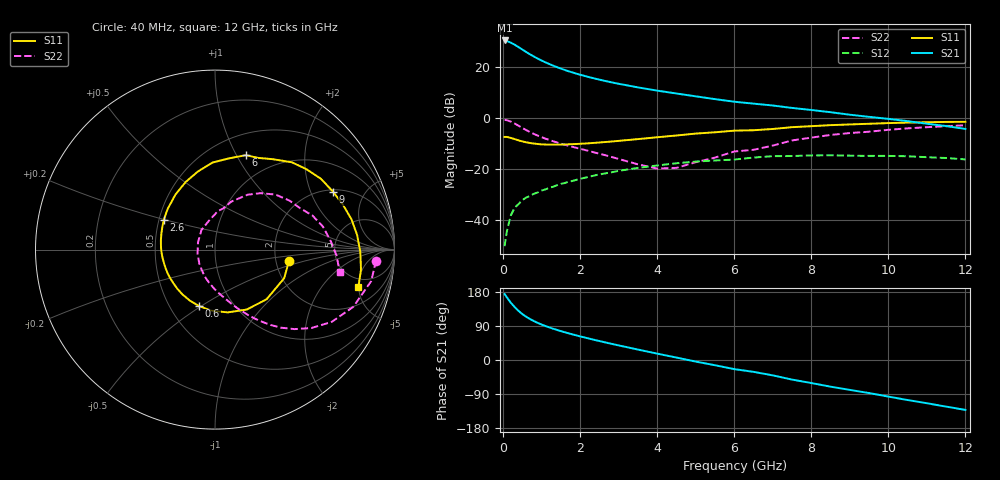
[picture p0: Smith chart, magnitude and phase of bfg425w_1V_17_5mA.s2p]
! Filename: 117bfg425.001
! BFG425W Field C1
! V1=8.701E-001V,V2=1.000E+000V, I1=2.655E-004A, I2=1.753E-002A
# GHz  S  MA  R 50
!  S11  S21  S12  S22
!Freq(GHz)  Mag  Ang  Mag  Ang  Mag  Ang  Mag  Ang
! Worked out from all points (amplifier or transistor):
!   44 points, 40 MHz to 12 GHz, reference 50 ohm
!   highest |S21| = 30.3 dB at 40 MHz (marker M1)
!   |S21| within 3 dB of that: start of sweep to 441.3 MHz
!   unconditionally stable (mu >= 1): 1.282 GHz to end of sweep
!   at 700 MHz: K = 0.75, MSG = 27.8 dB, |S12| = -30.8 dB
!   at 2.4 GHz: K = 1.16, MAG = 16.5 dB, |S12| = -22.6 dB
!   at 12 GHz: K = 1.36, MAG = 2.4 dB, |S12| = -16.4 dB
!   S11 on the Smith chart (normalised r, x): 40 MHz: 2.36, -0.38; 600 MHz: 0.70, -0.49; 2.6 GHz: 0.53, +0.19; 6 GHz: 0.72, +1.10; 9 GHz: 2.10, +2.92; 12 GHz: 3.77, -4.97
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0.04  0.417 -9.1  32.56 173.9  0.003 79.3  0.899 -4.0
0.1  0.417 -22.5  31.71 165.2  0.006 81.4  0.888 -11.4
0.2  0.399 -43.9  29.48 151.2  0.012 73.6  0.834 -22.5
0.3  0.378 -62.1  26.91 139.8  0.017 68.4  0.765 -31.8
0.4  0.357 -78.5  24.14 129.8  0.02 64.1  0.692 -39.2
0.5  0.341 -93.4  21.59 121.1  0.024 60.9  0.626 -45.0
0.6  0.327 -105.6  19.32 114.1  0.027 58.9  0.569 -49.9
0.7  0.317 -116.1  17.39 108.1  0.029 57.1  0.519 -53.8
0.8  0.309 -125.5  15.75 102.7  0.032 55.9  0.477 -57.1
0.9  0.303 -133.7  14.35 97.9  0.034 55.0  0.443 -60.1
1.2  0.295 -153.7  11.22 85.9  0.042 52.8  0.364 -67.6
1.6  0.297 -173.9  8.603 73.2  0.052 49.6  0.293 -76.1
2.2  0.312 163.1  6.307 57.3  0.068 43.5  0.224 -89.7
2.6  0.329 150.2  5.33 47.7  0.079 38.8  0.187 -100.4
3.5  0.378 125.5  3.911 27.6  0.103 26.4  0.121 -135.4
4.5  0.445 102.5  2.964 6.4  0.127 11.1  0.103 157.0
6  0.554 71.8  2.046 -24.1  0.15 -13.5  0.216 85.5
6.5  0.564 65.0  1.877 -31.3  0.164 -17.5  0.233 78.9
8.5  0.71 33.7  1.273 -70.4  0.182 -53.6  0.456 42.2
9  0.733 26.0  1.138 -78.9  0.179 -61.5  0.497 33.3
10.5  0.796 5.8  0.851 -105.7  0.174 -87.0  0.615 12.0
12  0.826 -14.7  0.598 -131.7  0.151 -114.9  0.706 -10.1
